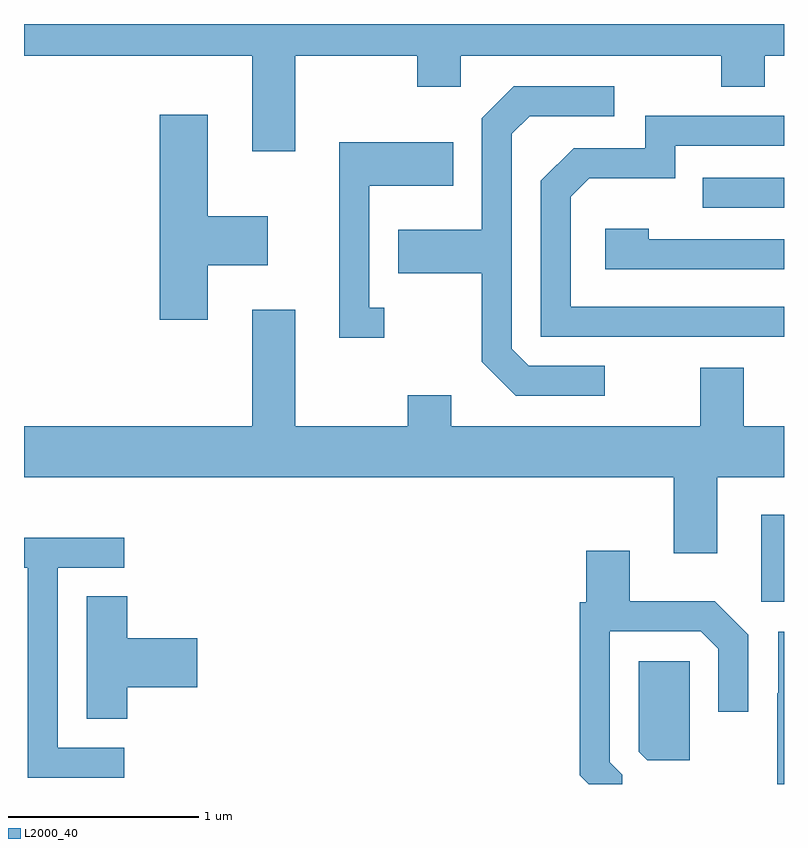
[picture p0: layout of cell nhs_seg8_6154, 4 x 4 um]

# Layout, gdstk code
import gdstk
lib = gdstk.Library(unit=1e-6, precision=1e-09)
def R(c, l, rs):  # rectangles x0, y0, x1, y1
    for r in rs: c.add(gdstk.rectangle(r[:2], r[2:], *l))
def P(c, l, *ps):  # polygons
    for p in ps: c.add(gdstk.Polygon(p, *l))
L2000_40 = (2000, 40)

nhs_seg8_6154 = lib.new_cell('nhs_seg8_6154')
R(nhs_seg8_6154, L2000_40, [(373.491,1851.301,373.611,1851.759), (373.183,1853.376,373.611,1853.534)])
P(nhs_seg8_6154, L2000_40, [(371.039,1854.176),(371.681,1854.176),(371.681,1854.011),(371.909,1854.011),(371.909,1854.176),(373.281,1854.176),(373.281,1854.011),(373.509,1854.011),(373.509,1854.176),(373.611,1854.176),(373.611,1854.342),(369.611,1854.342),(369.611,1854.176),(370.811,1854.176),(370.811,1853.671),(371.039,1853.671)],
  [(372.668,1852.544),(372.267,1852.544),(372.179,1852.632),(372.179,1853.764),(372.272,1853.856),(372.718,1853.856),(372.718,1854.014),(372.189,1854.014),(372.021,1853.847),(372.021,1853.259),(371.581,1853.259),(371.581,1853.031),(372.021,1853.031),(372.021,1852.564),(372.199,1852.386),(372.668,1852.386)],
  [(370.579,1853.071),(370.894,1853.071),(370.894,1853.329),(370.579,1853.329),(370.579,1853.864),(370.326,1853.864),(370.326,1852.786),(370.579,1852.786)],
  [(373.611,1852.854),(372.489,1852.854),(372.489,1853.434),(372.587,1853.531),(373.039,1853.531),(373.039,1853.701),(373.611,1853.701),(373.611,1853.859),(372.881,1853.859),(372.881,1853.689),(372.504,1853.689),(372.331,1853.517),(372.331,1852.696),(373.611,1852.696)],
  [(371.508,1852.849),(371.429,1852.849),(371.429,1853.491),(371.869,1853.491),(371.869,1853.719),(371.271,1853.719),(371.271,1852.691),(371.508,1852.691)],
  [(373.611,1853.209),(372.899,1853.209),(372.899,1853.264),(372.671,1853.264),(372.671,1853.051),(373.611,1853.051)],
  [(373.259,1851.956),(373.611,1851.956),(373.611,1852.224),(373.399,1852.224),(373.399,1852.534),(373.171,1852.534),(373.171,1852.224),(371.859,1852.224),(371.859,1852.389),(371.631,1852.389),(371.631,1852.224),(371.039,1852.224),(371.039,1852.839),(370.811,1852.839),(370.811,1852.224),(369.611,1852.224),(369.611,1851.956),(373.031,1851.956),(373.031,1851.556),(373.259,1851.556)],
  [(370.138,1850.534),(369.789,1850.534),(369.789,1851.481),(370.138,1851.481),(370.138,1851.639),(369.611,1851.639),(369.611,1851.481),(369.631,1851.481),(369.631,1850.376),(370.138,1850.376)],
  [(372.759,1850.392),(372.694,1850.457),(372.694,1851.146),(373.174,1851.146),(373.266,1851.054),(373.266,1850.723),(373.424,1850.723),(373.424,1851.127),(373.247,1851.304),(372.799,1851.304),(372.799,1851.569),(372.571,1851.569),(372.571,1851.299),(372.536,1851.299),(372.536,1850.389),(372.583,1850.342),(372.759,1850.342)],
  [(370.154,1850.851),(370.524,1850.851),(370.524,1851.109),(370.154,1851.109),(370.154,1851.329),(369.941,1851.329),(369.941,1850.686),(370.154,1850.686)],
  [(373.611,1851.144),(373.581,1851.144),(373.581,1850.82),(373.576,1850.82),(373.576,1850.342),(373.611,1850.342)],
  [(373.114,1850.989),(372.846,1850.989),(372.846,1850.512),(372.892,1850.466),(373.114,1850.466)])

lib.write_gds('nhs_seg8_6154.gds')
